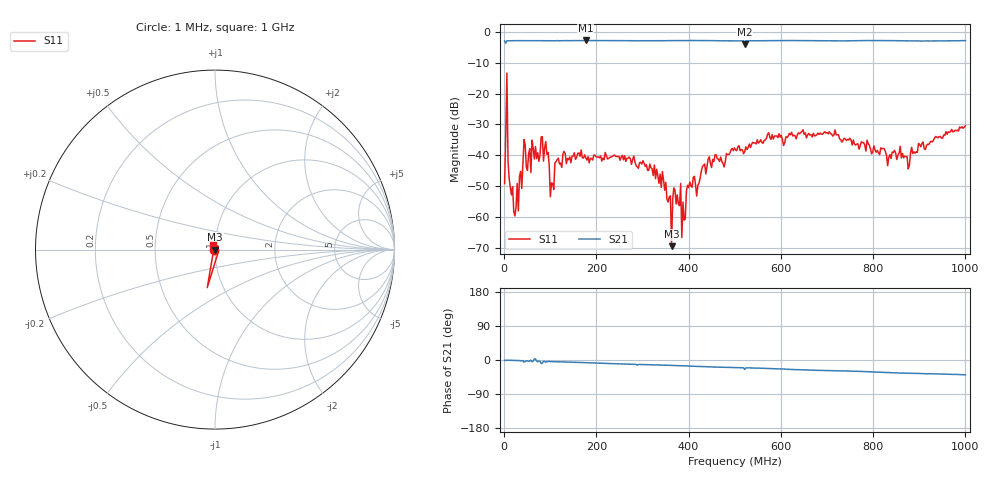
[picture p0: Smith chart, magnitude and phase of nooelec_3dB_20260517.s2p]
# HZ S RI R 50
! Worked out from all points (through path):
!   404 points, 1 MHz to 1 GHz, reference 50 ohm
!   highest |S21| = -2.70 dB at 177 MHz (marker M1); lowest = -3.9 dB at 521.6 MHz (marker M2)
!   group delay of S21, straight-line fit = 108 ps
!   lowest |S11| = -69.6 dB at 362.9 MHz (marker M3), VSWR 1.00, Z = 50 + j0.0217 ohm
!   |S11| at or under -10 dB: start of sweep to end of sweep
!   S12 and S22 are empty: the file has one direction only
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1000000  -0.0031 -0.00152  0.718 -0.0109  0 0  0 0
8436724  -0.00648 0.0048  0.7233 -0.00878  0 0  0 0
1.587345e7  -0.00163 0.00157  0.7253 -0.0102  0 0  0 0
2.578908e7  -0.000335 -0.00139  0.726 -0.0137  0 0  0 0
4.066253e7  -0.00504 0.0053  0.7272 -0.0227  0 0  0 0
4.809925e7  -0.00455 0.00458  0.7265 -0.0262  0 0  0 0
8.528287e7  -0.00732 0.00333  0.7247 -0.0451  0 0  0 0
1.026352e8  -0.00277 0.00224  0.723 -0.0539  0 0  0 0
1.150298e8  -0.00819 -0.00231  0.725 -0.0596  0 0  0 0
1.695657e8  -0.00866 0.00267  0.7238 -0.0856  0 0  0 0
1.770025e8  -0.00903 0.000811  0.7273 -0.0895  0 0  0 0
2.761588e8  -0.00191 0.00685  0.7121 -0.1423  0 0  0 0
3.356526e8  0.00022 0.00349  0.7056 -0.1665  0 0  0 0
3.629206e8  0.000253 0.000217  0.706 -0.1802  0 0  0 0
3.703573e8  0.00264 -0.000713  0.7048 -0.1836  0 0  0 0
3.901886e8  -0.000821 -0.000326  0.7027 -0.1948  0 0  0 0
4.075409e8  1.02e-05 -0.00302  0.7011 -0.2044  0 0  0 0
5.017394e8  -0.0122 -0.000105  0.6771 -0.2478  0 0  0 0
5.215707e8  -0.0112 0.00234  0.5766 -0.2712  0 0  0 0
6.678263e8  0.00575 0.0189  0.6465 -0.3283  0 0  0 0
8.339131e8  0.00138 -0.0091  0.6113 -0.3978  0 0  0 0
9.999999e8  -0.0137 0.0268  0.5619 -0.4605  0 0  0 0
